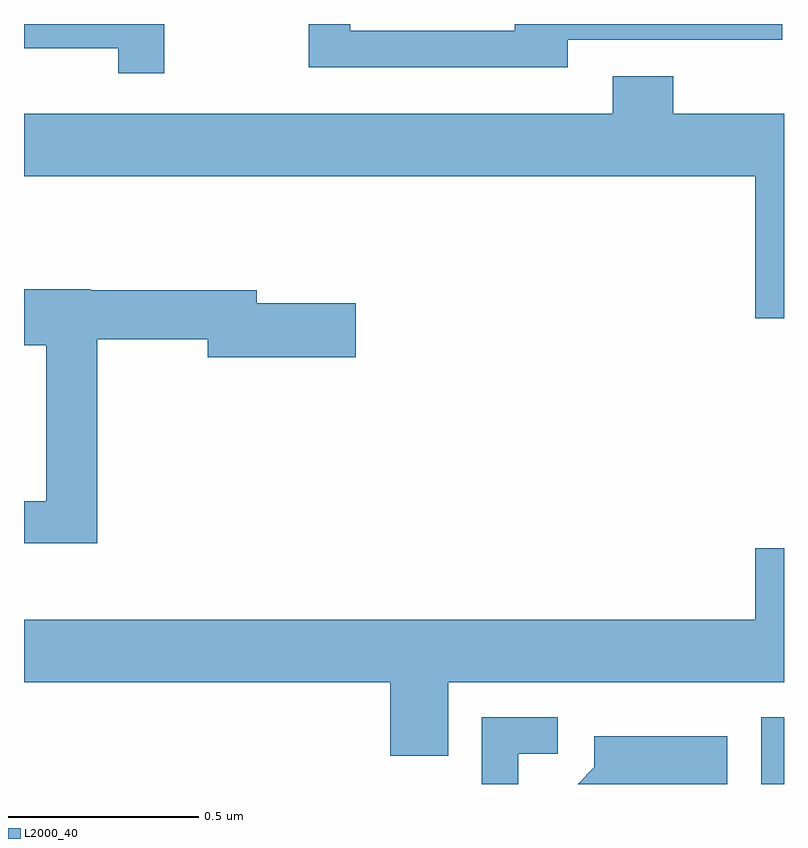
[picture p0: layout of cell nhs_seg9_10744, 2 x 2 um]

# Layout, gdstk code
import gdstk
lib = gdstk.Library(unit=1e-6, precision=1e-09)
def R(c, l, rs):  # rectangles x0, y0, x1, y1
    for r in rs: c.add(gdstk.rectangle(r[:2], r[2:], *l))
def P(c, l, *ps):  # polygons
    for p in ps: c.add(gdstk.Polygon(p, *l))
L2000_40 = (2000, 40)

nhs_seg9_10744 = lib.new_cell('nhs_seg9_10744')
R(nhs_seg9_10744, L2000_40, [(248.94,1181.5,249,1181.676)])
P(nhs_seg9_10744, L2000_40, [(248.431,1183.458),(248.995,1183.458),(248.995,1183.5),(248.291,1183.5),(248.291,1183.482),(247.858,1183.482),(247.858,1183.5),(247.749,1183.5),(247.749,1183.386),(248.431,1183.386)],
  [(247.369,1183.5),(247,1183.5),(247,1183.436),(247.248,1183.436),(247.248,1183.371),(247.369,1183.371)],
  [(249,1183.264),(248.709,1183.264),(248.709,1183.363),(248.549,1183.363),(248.549,1183.264),(247,1183.264),(247,1183.1),(248.924,1183.1),(248.924,1182.726),(249,1182.726)],
  [(247.193,1182.67),(247.484,1182.67),(247.484,1182.623),(247.873,1182.623),(247.873,1182.765),(247.612,1182.765),(247.612,1182.799),(247.176,1182.799),(247.176,1182.802),(247,1182.802),(247,1182.655),(247.058,1182.655),(247.058,1182.244),(247,1182.244),(247,1182.134),(247.193,1182.134)],
  [(248.116,1181.768),(249,1181.768),(249,1182.121),(248.924,1182.121),(248.924,1181.932),(247,1181.932),(247,1181.768),(247.964,1181.768),(247.964,1181.574),(248.116,1181.574)],
  [(248.301,1181.58),(248.404,1181.58),(248.404,1181.676),(248.205,1181.676),(248.205,1181.5),(248.301,1181.5)],
  [(248.851,1181.626),(248.501,1181.626),(248.501,1181.544),(248.457,1181.5),(248.851,1181.5)])

lib.write_gds('nhs_seg9_10744.gds')
